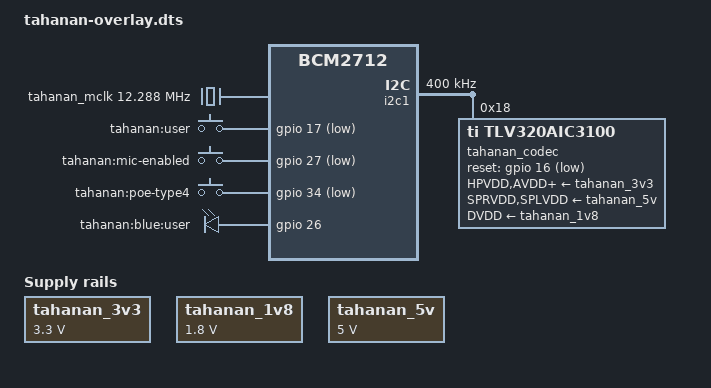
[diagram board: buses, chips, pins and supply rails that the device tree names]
// SPDX-License-Identifier: GPL-2.0
// Tahanan Hub rev A board overlay for Raspberry Pi Compute Module 5 (BCM2712 + RP1).
// Build: dtc -@ -I dts -O dtb -o tahanan.dtbo tahanan-overlay.dts   (or in-tree, see software/README.md)
// Status: written against the raspberrypi/linux rpi-6.12.y device tree labels. NOT yet run on hardware.
/dts-v1/;
/plugin/;

#include <dt-bindings/gpio/gpio.h>
#include <dt-bindings/input/input.h>
#include <dt-bindings/sound/tlv320aic31xx.h>

/ {
	compatible = "brcm,bcm2712";

	fragment@0 {
		target-path = "/";
		__overlay__ {
			/* Y1: 12.288 MHz oscillator feeding the codec MCLK pin */
			tahanan_mclk: tahanan-codec-mclk {
				compatible = "fixed-clock";
				#clock-cells = <0>;
				clock-frequency = <12288000>;
			};

			tahanan_3v3: regulator-tahanan-3v3 {
				compatible = "regulator-fixed";
				regulator-name = "tahanan-3v3";
				regulator-min-microvolt = <3300000>;
				regulator-max-microvolt = <3300000>;
				regulator-always-on;
			};
			tahanan_1v8: regulator-tahanan-1v8 {
				compatible = "regulator-fixed";
				regulator-name = "tahanan-1v8";
				regulator-min-microvolt = <1800000>;
				regulator-max-microvolt = <1800000>;
				regulator-always-on;
			};
			tahanan_5v: regulator-tahanan-5v {
				compatible = "regulator-fixed";
				regulator-name = "tahanan-5v-spk";
				regulator-min-microvolt = <5000000>;
				regulator-max-microvolt = <5000000>;
				regulator-always-on;
			};

			/* Codec is bit and frame clock master (clocked by Y1); the SoC I2S block is the consumer. */
			tahanan_sound: sound {
				compatible = "simple-audio-card";
				simple-audio-card,name = "TahananHub";
				simple-audio-card,format = "i2s";
				simple-audio-card,bitclock-master = <&tahanan_codec_dai>;
				simple-audio-card,frame-master = <&tahanan_codec_dai>;
				simple-audio-card,widgets =
					"Speaker", "Speaker",
					"Microphone", "Mic";
				simple-audio-card,routing =
					"Speaker", "SPK",
					"MIC1LP", "Mic",
					"MIC1LM", "Mic";
				simple-audio-card,cpu {
					sound-dai = <&i2s_clk_consumer>;
				};
				tahanan_codec_dai: simple-audio-card,codec {
					sound-dai = <&tahanan_codec>;
					clocks = <&tahanan_mclk>;
				};
			};

			tahanan_keys: gpio-keys {
				compatible = "gpio-keys";
				user {
					label = "tahanan:user";
					gpios = <&gpio 17 GPIO_ACTIVE_LOW>;
					linux,code = <KEY_PROG1>;
					debounce-interval = <30>;
				};
				mic-enabled {
					/* SW4: high when the microphone is powered */
					label = "tahanan:mic-enabled";
					gpios = <&gpio 27 GPIO_ACTIVE_LOW>;
					linux,input-type = <EV_SW>;
					linux,code = <SW_MUTE_DEVICE>;
					debounce-interval = <50>;
				};
				poe-type4 {
					/* U18 optocoupler: low when the PSE identified itself as 802.3bt Type 4 */
					label = "tahanan:poe-type4";
					gpios = <&gpio 34 GPIO_ACTIVE_LOW>;
					linux,input-type = <EV_SW>;
					linux,code = <SW_DOCK>;
					debounce-interval = <100>;
				};
			};

			tahanan_leds: leds {
				compatible = "gpio-leds";
				led-user {
					label = "tahanan:blue:user";
					gpios = <&gpio 26 GPIO_ACTIVE_HIGH>;
					default-state = "off";
				};
			};
		};
	};

	fragment@1 {
		target = <&i2s_clk_consumer>;
		__overlay__ {
			status = "okay";
		};
	};

	fragment@2 {
		target = <&i2c1>;
		__overlay__ {
			#address-cells = <1>;
			#size-cells = <0>;
			status = "okay";
			clock-frequency = <400000>;

			tahanan_codec: audio-codec@18 {
				compatible = "ti,tlv320aic3100";
				reg = <0x18>;
				#sound-dai-cells = <0>;
				reset-gpios = <&gpio 16 GPIO_ACTIVE_LOW>;
				ai31xx-micbias-vg = <MICBIAS_OFF>;   /* MK1 runs from +3V3A through SW4 */
				HPVDD-supply = <&tahanan_3v3>;
				SPRVDD-supply = <&tahanan_5v>;
				SPLVDD-supply = <&tahanan_5v>;
				AVDD-supply = <&tahanan_3v3>;
				IOVDD-supply = <&tahanan_3v3>;
				DVDD-supply = <&tahanan_1v8>;
			};
			/* 0x28: STUSB4500 USB-PD sink. No kernel driver is bound; status is read from user space. */
		};
	};

	fragment@3 {
		target = <&gpio>;
		__overlay__ {
			/* Radio control lines idle high; user space (universal-silabs-flasher, add-ons) drives them. */
			tahanan_radio_pins: tahanan-radio-pins {
				pins = "gpio22", "gpio23", "gpio24", "gpio25";
				function = "gpio";
				bias-pull-up;
			};
		};
	};
};
